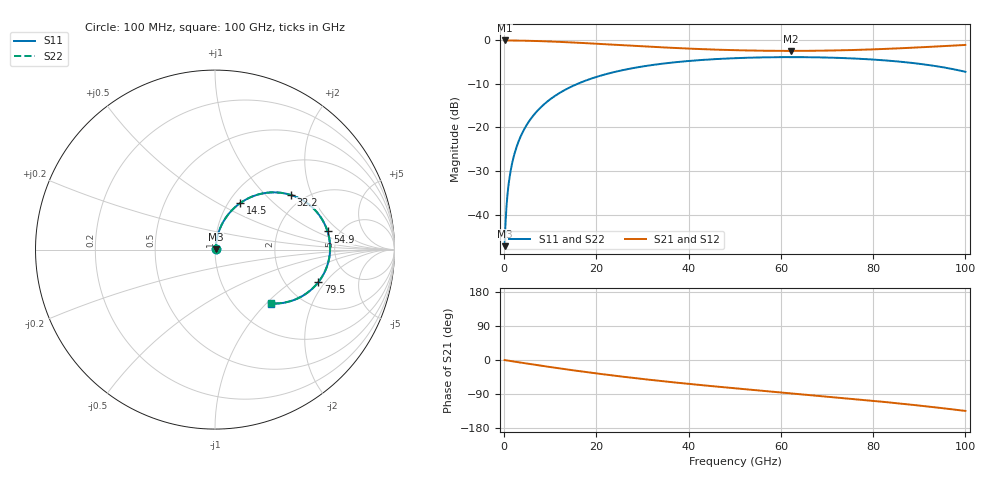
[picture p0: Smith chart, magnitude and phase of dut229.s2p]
! Touchstone file exported from HFSS 2026.1.0
!  File:  C:/ffzhzh/LocalFiles/Ansys_Project_Files/temp_train_RDL_229_1783501161_9504.aedt
!  Generated:  05:00:27 PM Jul  8, 2026
!  Design:  RDL
!  Project:  temp_train_RDL_229_1783501161_9504
! Variables:
!  h_bsmrdl = 2um
!  h_ox = 20um
!  h_rdl = 5um
!  h_sub = 80um
!  h_tmrdl = 3.01um
!  h_tsv = 80um
!  h_via = 3um
!  l_bsmrdl = 300um
!  l_sub = 866.33um
!  l_tmrdl = 466.33um
!  m_sub = 200um
!  pitch = 46.02um
!  r_tsv = 6um
!  s_tmrdl = 10um
!  w_bsmrdl = 18um
!  w_sub = 500um
!  w_tmrdl = 15.7um
!  x_tsv_center1 = 474.18um
!  x_tsv_center2 = 792.18um
!  x_tsv_center3 = 1274.21um
!  x_tsv_center4 = 1592.21um
!  x_tsv_center5 = 2074.24um
!  x_tsv_center6 = 2392.24um
# GHz S MA R 50.000000
! Terminal data exported
! Port[1] = TM_RDL1_1_T1
! Port[2] = TM_RDL1_1_T2
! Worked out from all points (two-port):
!   1000 points, 100 MHz to 100 GHz, reference 50 ohm
!   highest |S21| = -0.03 dB at 100 MHz (marker M1); lowest = -2.4 dB at 62.1 GHz (marker M2)
!   |S21| within 3 dB of the highest: start of sweep to end of sweep
!   lowest |S11| = -47.3 dB at 100 MHz (marker M3), VSWR 1.01, Z = 50.4 + j0.237 ohm
!   |S11| at or under -10 dB: start of sweep to 15.89 GHz
!   |S22| runs from -47.3 to -3.9 dB; largest |S21 - S12| = 1.6e-14
!   S11 on the Smith chart (normalised r, x): 100 MHz: 1.01, +0.00; 14.5 GHz: 1.13, +0.64; 32.2 GHz: 1.71, +1.43; 54.9 GHz: 4.00, +1.35; 79.5 GHz: 2.98, -1.71; 100 GHz: 1.45, -1.07
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0.1  0.004332 32.8  0.9964 -0.2  0.9964 -0.2  0.004332 32.8
! Gamma 0 0 0 0
! Port Impedance 50 0 50 0
0.9  0.02075 76.3  0.9955 -1.7  0.9955 -1.7  0.02075 76.3
1.4  0.03155 79.1  0.995 -2.7  0.995 -2.7  0.03155 79.1
2.4  0.05328 80.3  0.9938 -4.6  0.9938 -4.6  0.05328 80.3
3.7  0.08142 79.3  0.9915 -7.0  0.9915 -7.0  0.08142 79.3
5.5  0.1197 76.8  0.9869 -10.4  0.9869 -10.4  0.1197 76.8
7.9  0.1692 72.8  0.9786 -14.8  0.9786 -14.8  0.1692 72.8
10.9  0.2278 67.7  0.9654 -20.2  0.9654 -20.2  0.2278 67.7
14.5  0.2928 61.7  0.9465 -26.4  0.9465 -26.4  0.2928 61.7
16.8  0.331 58.0  0.9333 -30.2  0.9333 -30.2  0.331 58.0
24.1  0.4352 46.8  0.8889 -41.6  0.8889 -41.6  0.4351 46.9
32.2  0.5214 35.7  0.8415 -53.1  0.8415 -53.1  0.5214 35.7
33.4  0.5318 34.1  0.835 -54.6  0.835 -54.6  0.5317 34.2
41.8  0.5893 23.8  0.7962 -65.1  0.7962 -65.1  0.5893 23.9
50.1  0.6239 14.4  0.7702 -74.7  0.7702 -74.7  0.6238 14.5
54.9  0.6352 9.2  0.7612 -80.0  0.7612 -80.0  0.6352 9.2
62.1  0.6415 1.5  0.7561 -87.8  0.7561 -87.8  0.6415 1.6
66.7  0.639 -3.4  0.7582 -92.8  0.7582 -92.8  0.639 -3.3
79.5  0.6037 -17.5  0.7855 -107.2  0.7855 -107.2  0.6036 -17.4
83.4  0.5836 -22.1  0.7999 -111.9  0.7999 -111.9  0.5835 -22.0
92.3  0.5178 -33.2  0.8418 -123.3  0.8418 -123.3  0.5177 -33.1
100  0.435 -43.7  0.885 -134.4  0.885 -134.4  0.435 -43.6
